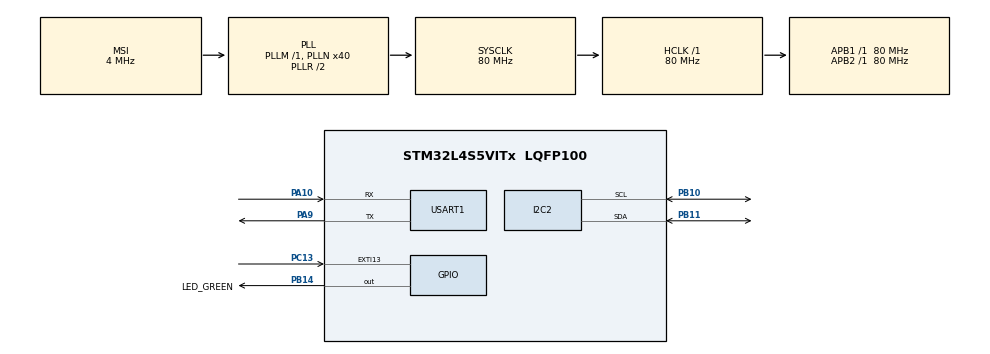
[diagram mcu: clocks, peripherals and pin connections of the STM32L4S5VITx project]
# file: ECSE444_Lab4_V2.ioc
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I2C2.Timing=0x10909CEC
Mcu.Family=STM32L4
Mcu.Name=STM32L4S5VITx
Mcu.Package=LQFP100
NVIC.EXTI15_10_IRQn=true\:0\:0\:false\:false\:true\:true\:true
NVIC.PriorityGroup=NVIC_PRIORITYGROUP_4
NVIC.TIM6_DAC_IRQn=true\:0\:0\:false\:false\:true\:false\:true
NVIC.TimeBase=TIM6_DAC_IRQn
NVIC.TimeBaseIP=TIM6
PA10.Mode=Asynchronous
PA10.Signal=USART1_RX
PA9.Mode=Asynchronous
PA9.Signal=USART1_TX
PB10.Mode=I2C
PB10.Signal=I2C2_SCL
PB11.Mode=I2C
PB11.Signal=I2C2_SDA
PB14.GPIO_Label=LED_GREEN
PB14.Signal=GPIO_Output
PC13.Signal=GPXTI13
ProjectManager.HeapSize=0x200
ProjectManager.StackSize=0x400
ProjectManager.TargetToolchain=STM32CubeIDE
RCC.ADCFreq_Value=48000000
RCC.AHBFreq_Value=80000000
RCC.APB1Freq_Value=80000000
RCC.APB1TimFreq_Value=80000000
RCC.APB2Freq_Value=80000000
RCC.APB2TimFreq_Value=80000000
RCC.CortexFreq_Value=80000000
RCC.HCLKFreq_Value=80000000
RCC.HSE_VALUE=8000000
RCC.HSI48_VALUE=48000000
RCC.HSI_VALUE=16000000
RCC.LSE_VALUE=32768
RCC.MSI_VALUE=4000000
RCC.PLLN=40
RCC.PLLSAI1N=24
RCC.SYSCLKFreq_VALUE=80000000
RCC.SYSCLKSource=RCC_SYSCLKSOURCE_PLLCLK
RCC.USBFreq_Value=48000000
RCC.VCOOutputFreq_Value=160000000
USART1.VirtualMode-Asynchronous=VM_ASYNC
VP_SYS_VS_tim6.Mode=TIM6
board=B-L4S5I-IOT01A

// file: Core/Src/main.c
/* USER CODE BEGIN Header */
/**
  ******************************************************************************
  * @file           : main.c
  * @brief          : Main program body
  ******************************************************************************
  * @attention
  *
  * <h2><center>&copy; Copyright (c) 2021 STMicroelectronics.
  * All rights reserved.</center></h2>
  *
  * This software component is licensed by ST under BSD 3-Clause license,
  * the "License"; You may not use this file except in compliance with the
  * License. You may obtain a copy of the License at:
  *                        opensource.org/licenses/BSD-3-Clause
  *
  ******************************************************************************
  */
/* USER CODE END Header */
#include "main.h"

/* USER CODE BEGIN Includes */
#include "hts221.h"
#include "lsm6dsl.h"
#include "stm32l4s5i_iot01.h"
#include "stm32l4s5i_iot01_tsensor.h"
#include "stm32l4s5i_iot01_hsensor.h"
#include "stm32l4s5i_iot01_accelero.h"
#include "stm32l4s5i_iot01_gyro.h"
#include <stdio.h>
#include <string.h>

/* USER CODE END Includes */

I2C_HandleTypeDef hi2c2;

UART_HandleTypeDef huart1;

/* USER CODE BEGIN PV */

//Variables
float hValue;
float tValue;

//Buffers for SPRINTF
char hSensor_buffer[100];
char tSensor_buffer[100];

/* USER CODE END PV */

void SystemClock_Config(void);
static void MX_GPIO_Init(void);
static void MX_I2C2_Init(void);
static void MX_USART1_UART_Init(void);

int main(void)
{

  /* MCU Configuration--------------------------------------------------------*/

  /* Reset of all peripherals, Initializes the Flash interface and the Systick. */
  HAL_Init();

  /* USER CODE BEGIN Init */
  BSP_HSENSOR_Init();
  BSP_TSENSOR_Init();

  /* USER CODE END Init */

  /* Configure the system clock */
  SystemClock_Config();

  /* Initialize all configured peripherals */
  MX_GPIO_Init();
  MX_I2C2_Init();
  MX_USART1_UART_Init();
  /* USER CODE BEGIN 2 */
  HAL_UART_Init(&huart1);

  /* USER CODE END 2 */

  /* Infinite loop */
  while (1)
  {

    /* USER CODE BEGIN 3 */
	  sprintf(hSensor_buffer, "Hello World");
	  HAL_UART_Transmit(&huart1, (uint8_t*)hSensor_buffer, 100, 10000);
	  HAL_Delay(100);
  }
  /* USER CODE END 3 */
}

void SystemClock_Config(void)
{
  RCC_OscInitTypeDef RCC_OscInitStruct = {0};
  RCC_ClkInitTypeDef RCC_ClkInitStruct = {0};
  RCC_PeriphCLKInitTypeDef PeriphClkInit = {0};

  /** Configure the main internal regulator output voltage
  */
  if (HAL_PWREx_ControlVoltageScaling(PWR_REGULATOR_VOLTAGE_SCALE1) != HAL_OK)
  {
    Error_Handler();
  }
  /** Initializes the RCC Oscillators according to the specified parameters
  * in the RCC_OscInitTypeDef structure.
  */
  RCC_OscInitStruct.OscillatorType = RCC_OSCILLATORTYPE_MSI;
  RCC_OscInitStruct.MSIState = RCC_MSI_ON;
  RCC_OscInitStruct.MSICalibrationValue = 0;
  RCC_OscInitStruct.MSIClockRange = RCC_MSIRANGE_6;
  RCC_OscInitStruct.PLL.PLLState = RCC_PLL_ON;
  RCC_OscInitStruct.PLL.PLLSource = RCC_PLLSOURCE_MSI;
  RCC_OscInitStruct.PLL.PLLM = 1;
  RCC_OscInitStruct.PLL.PLLN = 40;
  RCC_OscInitStruct.PLL.PLLP = RCC_PLLP_DIV2;
  RCC_OscInitStruct.PLL.PLLQ = RCC_PLLQ_DIV2;
  RCC_OscInitStruct.PLL.PLLR = RCC_PLLR_DIV2;
  if (HAL_RCC_OscConfig(&RCC_OscInitStruct) != HAL_OK)
  {
    Error_Handler();
  }
  /** Initializes the CPU, AHB and APB buses clocks
  */
  RCC_ClkInitStruct.ClockType = RCC_CLOCKTYPE_HCLK|RCC_CLOCKTYPE_SYSCLK
                              |RCC_CLOCKTYPE_PCLK1|RCC_CLOCKTYPE_PCLK2;
  RCC_ClkInitStruct.SYSCLKSource = RCC_SYSCLKSOURCE_PLLCLK;
  RCC_ClkInitStruct.AHBCLKDivider = RCC_SYSCLK_DIV1;
  RCC_ClkInitStruct.APB1CLKDivider = RCC_HCLK_DIV1;
  RCC_ClkInitStruct.APB2CLKDivider = RCC_HCLK_DIV1;

  if (HAL_RCC_ClockConfig(&RCC_ClkInitStruct, FLASH_LATENCY_3) != HAL_OK)
  {
    Error_Handler();
  }
  PeriphClkInit.PeriphClockSelection = RCC_PERIPHCLK_USART1|RCC_PERIPHCLK_I2C2;
  PeriphClkInit.Usart1ClockSelection = RCC_USART1CLKSOURCE_PCLK2;
  PeriphClkInit.I2c2ClockSelection = RCC_I2C2CLKSOURCE_PCLK1;
  if (HAL_RCCEx_PeriphCLKConfig(&PeriphClkInit) != HAL_OK)
  {
    Error_Handler();
  }
}

static void MX_I2C2_Init(void)
{

  hi2c2.Instance = I2C2;
  hi2c2.Init.Timing = 0x10909CEC;
  hi2c2.Init.OwnAddress1 = 0;
  hi2c2.Init.AddressingMode = I2C_ADDRESSINGMODE_7BIT;
  hi2c2.Init.DualAddressMode = I2C_DUALADDRESS_DISABLE;
  hi2c2.Init.OwnAddress2 = 0;
  hi2c2.Init.OwnAddress2Masks = I2C_OA2_NOMASK;
  hi2c2.Init.GeneralCallMode = I2C_GENERALCALL_DISABLE;
  hi2c2.Init.NoStretchMode = I2C_NOSTRETCH_DISABLE;
  if (HAL_I2C_Init(&hi2c2) != HAL_OK)
  {
    Error_Handler();
  }
  /** Configure Analogue filter
  */
  if (HAL_I2CEx_ConfigAnalogFilter(&hi2c2, I2C_ANALOGFILTER_ENABLE) != HAL_OK)
  {
    Error_Handler();
  }
  /** Configure Digital filter
  */
  if (HAL_I2CEx_ConfigDigitalFilter(&hi2c2, 0) != HAL_OK)
  {
    Error_Handler();
  }

}

static void MX_USART1_UART_Init(void)
{

  huart1.Instance = USART1;
  huart1.Init.BaudRate = 115200;
  huart1.Init.WordLength = UART_WORDLENGTH_8B;
  huart1.Init.StopBits = UART_STOPBITS_1;
  huart1.Init.Parity = UART_PARITY_NONE;
  huart1.Init.Mode = UART_MODE_TX_RX;
  huart1.Init.HwFlowCtl = UART_HWCONTROL_NONE;
  huart1.Init.OverSampling = UART_OVERSAMPLING_16;
  huart1.Init.OneBitSampling = UART_ONE_BIT_SAMPLE_DISABLE;
  huart1.Init.ClockPrescaler = UART_PRESCALER_DIV1;
  huart1.AdvancedInit.AdvFeatureInit = UART_ADVFEATURE_NO_INIT;
  if (HAL_UART_Init(&huart1) != HAL_OK)
  {
    Error_Handler();
  }
  if (HAL_UARTEx_SetTxFifoThreshold(&huart1, UART_TXFIFO_THRESHOLD_1_8) != HAL_OK)
  {
    Error_Handler();
  }
  if (HAL_UARTEx_SetRxFifoThreshold(&huart1, UART_RXFIFO_THRESHOLD_1_8) != HAL_OK)
  {
    Error_Handler();
  }
  if (HAL_UARTEx_DisableFifoMode(&huart1) != HAL_OK)
  {
    Error_Handler();
  }

}

static void MX_GPIO_Init(void)
{
  GPIO_InitTypeDef GPIO_InitStruct = {0};

  /* GPIO Ports Clock Enable */
  __HAL_RCC_GPIOC_CLK_ENABLE();
  __HAL_RCC_GPIOB_CLK_ENABLE();
  __HAL_RCC_GPIOA_CLK_ENABLE();

  /*Configure GPIO pin Output Level */
  HAL_GPIO_WritePin(LED_GREEN_GPIO_Port, LED_GREEN_Pin, GPIO_PIN_RESET);

  /*Configure GPIO pin : PC13 */
  GPIO_InitStruct.Pin = GPIO_PIN_13;
  GPIO_InitStruct.Mode = GPIO_MODE_IT_RISING;
  GPIO_InitStruct.Pull = GPIO_NOPULL;
  HAL_GPIO_Init(GPIOC, &GPIO_InitStruct);

  /*Configure GPIO pin : LED_GREEN_Pin */
  GPIO_InitStruct.Pin = LED_GREEN_Pin;
  GPIO_InitStruct.Mode = GPIO_MODE_OUTPUT_PP;
  GPIO_InitStruct.Pull = GPIO_NOPULL;
  GPIO_InitStruct.Speed = GPIO_SPEED_FREQ_LOW;
  HAL_GPIO_Init(LED_GREEN_GPIO_Port, &GPIO_InitStruct);

  /* EXTI interrupt init*/
  HAL_NVIC_SetPriority(EXTI15_10_IRQn, 0, 0);
  HAL_NVIC_EnableIRQ(EXTI15_10_IRQn);

}

 /**
  * @brief  Period elapsed callback in non blocking mode
  * @note   This function is called  when TIM6 interrupt took place, inside
  * HAL_TIM_IRQHandler(). It makes a direct call to HAL_IncTick() to increment
  * a global variable "uwTick" used as application time base.
  * @param  htim : TIM handle
  * @retval None
  */
void HAL_TIM_PeriodElapsedCallback(TIM_HandleTypeDef *htim)
{
  if (htim->Instance == TIM6) {
    HAL_IncTick();
  }
}

void Error_Handler(void)
{
  __disable_irq();
  while (1)
  {
  }
}

/************************ (C) COPYRIGHT STMicroelectronics *****END OF FILE****/
